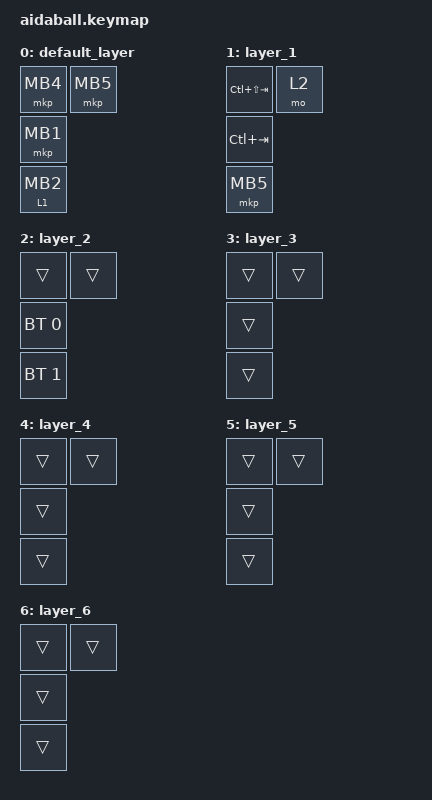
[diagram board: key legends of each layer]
#include <input/processors.dtsi>
#include <dt-bindings/zmk/input_transform.h>
#include <zephyr/dt-bindings/input/input-event-codes.h>
#include <behaviors.dtsi>
#include <dt-bindings/zmk/bt.h>
#include <dt-bindings/zmk/keys.h>
#include <dt-bindings/zmk/pointing.h>

#define ZMK_POINTING_DEFAULT_SCRL_VAL 100
#define MOUSE 0

&mt {
    flavor = "balanced";
    quick-tap-ms = <0>;
};

/ {
    behaviors {
        lt_mkp: lt_mkp {
            compatible = "zmk,behavior-hold-tap";
            label = "LT_MKP";
            bindings = <&mo>, <&mkp>;
            #binding-cells = <2>;
            tapping-term-ms = <200>;
        };
    };
    
    keymap {
        compatible = "zmk,keymap";

        default_layer {
            bindings = <
                &mkp MB4         &mkp MB5
                &mkp MB1         &lt_mkp 1 MB2
            >;
        };

        layer_1 {
            bindings = <
                &kp LC(LS(TAB))  &mo 2
                &kp LC(TAB)      &mkp MB5
            >;
        };

        layer_2 {
            bindings = <
                &trans          &trans
                &bt BT_SEL 0    &bt BT_SEL 1
            >;
        };

        layer_3 {
            bindings = <
                &trans  &trans
                &trans  &trans
            >;
        };

        layer_4 {
            bindings = <
                &trans  &trans
                &trans  &trans
            >;
        };

        layer_5 {
            bindings = <
                &trans  &trans
                &trans  &trans
            >;
        };

        layer_6 {
            bindings = <
                &trans  &trans
                &trans  &trans
            >;
        };


    // //ユーザがinput-processorsを変更したい場合はここに書く
    // &trackball_listener {
    //     input-processors =
    //         <&zip_xy_transform INPUT_TRANSFORM_XY_SWAP>,
    //         <&zip_temp_layer 3 500>;
    // };
    };
};
